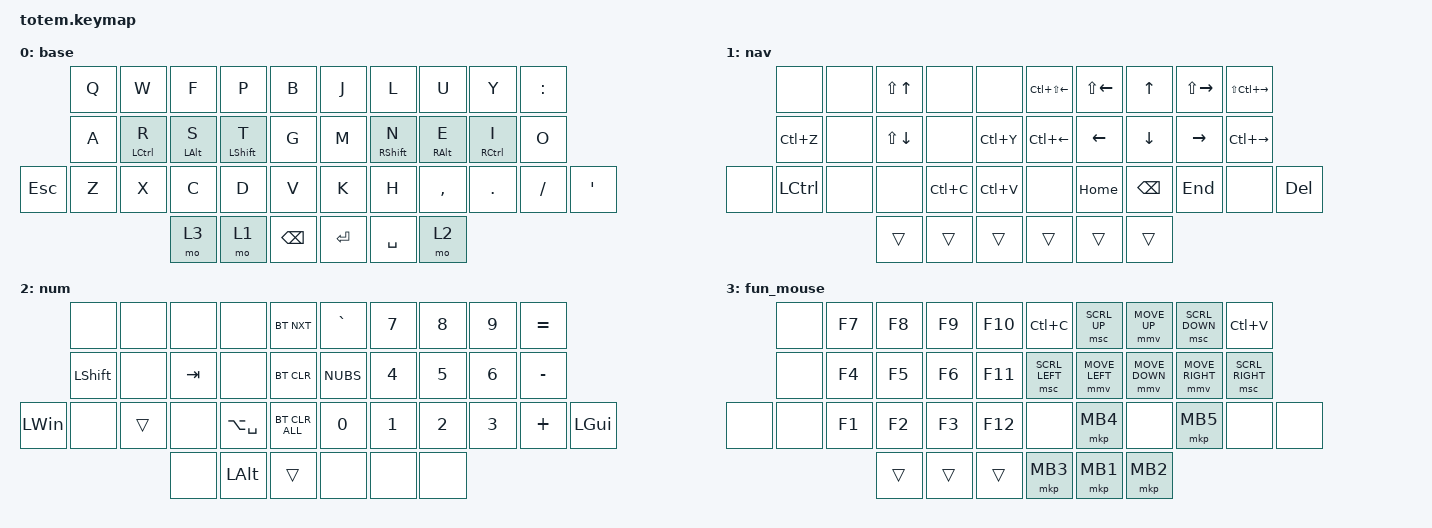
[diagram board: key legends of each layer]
//
//                                                        ▀▀▀▀▀     ▀▀▀▀▀          ▀▀█▀▀
//                                                        ▄▀▀▀▄  ▄  ▄▀▀▀▄  ▄  ▄▀▀▀▄  █  ▄▀▀▀▄
//                                                        █   █  █  █   █  █  █   █  █  █   █
//                                                         ▀▀▀   █   ▀▀▀   █   ▀▀▀   ▀   ▀▀▀
//                                                               █      ▄▄▄█▄▄▄    █   █
//                                                               ▀      █  █  █     █▄█
//                                                             ▀▀▀▀▀    █  █  █      ▀
//                                                                      ▀  ▀  ▀
//
// ▄▄▄▄▄▄▄▄▄▄▄▄▄▄▄▄▄▄▄▄▄▄▄▄▄▄▄▄▄▄▄▄▄▄▄▄▄▄▄▄▄▄▄▄▄▄▄▄▄▄▄▄▄▄▄▄▄▄▄▄▄▄▄▄▄▄▄▄▄▄▄▄▄▄▄▄▄▄▄▄▄▄▄▄▄▄▄▄▄▄▄▄▄▄▄▄
//
// ZMK port of QMK Corne keymap.c → TOTEM 38-key (Keycoon repo format)
// Primary OS: Windows
//
// TOTEM key-position layout (38 keys):
//
//   Row 0:   0   1   2   3   4  |  5   6   7   8   9
//   Row 1:  10  11  12  13  14  | 15  16  17  18  19
//   Row 2:  20  21  22  23  24  25 | 26  27  28  29  30  31
//            ^outerL                              outerR^
//   Thumb:  32  33  34           | 35  36  37

#include <dt-bindings/zmk/mouse.h>
#include <behaviors.dtsi>
#include <dt-bindings/zmk/bt.h>
#include <dt-bindings/zmk/keys.h>
#include <dt-bindings/zmk/pointing.h>

/ {
    // ─── Behaviours ──────────────────────────────────────────────────

    behaviors {
        my_mt: my_mt {
            compatible = "zmk,behavior-hold-tap";
            #binding-cells = <2>;
            flavor = "tap-preferred";
            tapping-term-ms = <280>;
            quick-tap-ms = <175>;
            bindings = <&kp>, <&kp>;

            label = "MY_MT";
        };
    };

    // ─── Combos ──────────────────────────────────────────────────────

    combos {
        compatible = "zmk,combos";

        combo_left_parantheses {
            timeout-ms = <60>;
            key-positions = <7 6>;
            bindings = <&kp LEFT_PARENTHESIS>;
        };

        combo_comma_dot_semi {
            timeout-ms = <50>;
            key-positions = <28 29>;
            bindings = <&kp SEMI>;
        };

        combo_h_comma_hyphen {
            timeout-ms = <50>;
            key-positions = <23 24>;
            bindings = <&kp MINUS>;
        };

        combo_right_parantheses {
            timeout-ms = <60>;
            key-positions = <7 8>;
            bindings = <&kp RIGHT_PARENTHESIS>;
        };

        Double_Quote {
            bindings = <&kp DOUBLE_QUOTES>;
            key-positions = <27 28>;
            timeout-ms = <50>;
        };

        left_bracket {
            bindings = <&kp LEFT_BRACKET>;
            key-positions = <1 2>;
            timeout-ms = <50>;
        };

        Right_bracket {
            bindings = <&kp RIGHT_BRACKET>;
            key-positions = <2 3>;
            timeout-ms = <50>;
        };
    };

    // ─── Keymap ──────────────────────────────────────────────────────

    keymap {
        compatible = "zmk,keymap";

        base {
            bindings = <
         &kp Q  &kp W                  &kp F              &kp P                &kp B            &kp J      &kp L                 &kp U               &kp Y                   &kp COLON
         &kp A  &my_mt LEFT_CONTROL R  &my_mt LEFT_ALT S  &my_mt LEFT_SHIFT T  &kp G            &kp M      &my_mt RIGHT_SHIFT N  &my_mt RIGHT_ALT E  &my_mt RIGHT_CONTROL I  &kp O
&kp ESC  &kp Z  &kp X                  &kp C              &kp D                &kp V            &kp K      &kp H                 &kp COMMA           &kp DOT                 &kp FSLH   &kp SINGLE_QUOTE
                                       &mo 3              &mo 1                &kp BACKSPACE    &kp ENTER  &kp SPACE             &mo 2
            >;
        };

        nav {
            bindings = <
       &none             &none  &kp LS(UP_ARROW)    &none      &none        &kp LC(LS(LEFT_ARROW))  &kp LS(LEFT_ARROW)  &kp UP_ARROW   &kp LS(RIGHT_ARROW)  &kp LS(LC(RIGHT_ARROW))
       &kp LC(Z)         &none  &kp LS(DOWN_ARROW)  &none      &kp LC(Y)    &kp LC(LEFT_ARROW)      &kp LEFT            &kp DOWN       &kp RIGHT            &kp LC(RIGHT_ARROW)
&none  &kp LEFT_CONTROL  &none  &none               &kp LC(C)  &kp LC(V)    &none                   &kp HOME            &kp BACKSPACE  &kp END              &none                    &kp DEL
                                &trans              &trans     &trans       &trans                  &trans              &trans
            >;
        };

        num {
            bindings = <
              &none           &none   &none    &none          &bt BT_NXT        &kp GRAVE  &kp N7        &kp N8        &kp N9        &kp EQUAL
              &kp LEFT_SHIFT  &none   &kp TAB  &none          &bt BT_CLR        &kp NUBS   &kp NUMBER_4  &kp N5        &kp NUMBER_6  &kp MINUS
&kp LEFT_WIN  &none           &trans  &none    &kp LA(SPACE)  &bt BT_CLR_ALL    &kp N0     &kp NUMBER_1  &kp NUMBER_2  &kp NUMBER_3  &kp PLUS   &kp LEFT_GUI
                                      &none    &kp LEFT_ALT   &trans            &none      &none         &none
            >;
        };

        // ── 3: FUN + MOUSE ───────────────────────────────────────────
        //
        //        F1     F2     F3     F4     F5         ___    ___    MS↑    ___    ___
        //        F6     F7     F8     F9     F10        ___    MS←    MS↓    MS→    ___
        // ___    F11    F12    ___    ___    ___        ___    ___    ___    ___    ___    ___
        //                ___   ___    ___              BTN1   BTN2   BTN3

        fun_mouse {
            bindings = <
       &none  &kp F7  &kp F8  &kp F9  &kp F10    &kp LC(C)       &msc SCRL_UP    &mmv MOVE_UP    &msc SCRL_DOWN   &kp LC(V)
       &none  &kp F4  &kp F5  &kp F6  &kp F11    &msc SCRL_LEFT  &mmv MOVE_LEFT  &mmv MOVE_DOWN  &mmv MOVE_RIGHT  &msc SCRL_RIGHT
&none  &none  &kp F1  &kp F2  &kp F3  &kp F12    &none           &mkp MB4        &none           &mkp MB5         &none            &none
                      &trans  &trans  &trans     &mkp MB3        &mkp MB1        &mkp MB2
            >;
        };

        extra1 { status = "reserved"; };

        extra2 { status = "reserved"; };

        extra3 { status = "reserved"; };
    };
};
